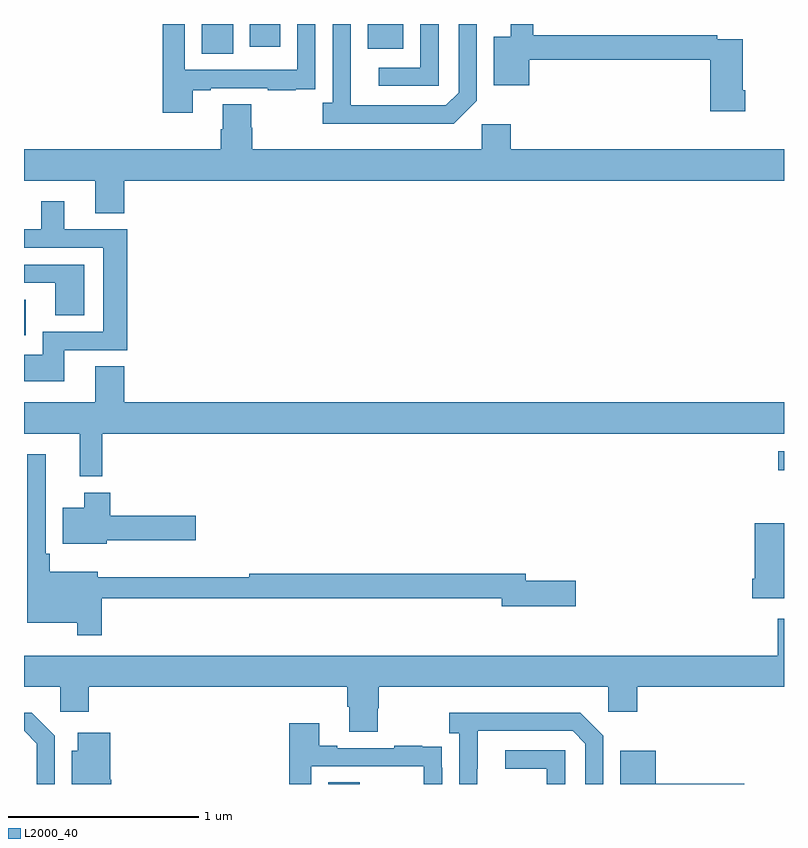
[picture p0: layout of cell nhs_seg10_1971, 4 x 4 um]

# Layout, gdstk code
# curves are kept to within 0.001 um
import gdstk
lib = gdstk.Library(unit=1e-6, precision=1e-09)
def R(c, l, rs):  # rectangles x0, y0, x1, y1
    for r in rs: c.add(gdstk.rectangle(r[:2], r[2:], *l))
def P(c, l, *ps):  # polygons
    for p in ps: c.add(gdstk.Polygon(p, *l))
L2000_40 = (2000, 40)

nhs_seg10_1971 = lib.new_cell('nhs_seg10_1971')
R(nhs_seg10_1971, L2000_40, [(216.602,1270.5,216.766,1270.508), (218.97,1272.151,219,1272.252), (215,1272.863,215.008,1273.048), (215.936,1274.344,216.1,1274.5), (216.809,1274.369,216.997,1274.5), (216.188,1274.379,216.349,1274.5)])
P(nhs_seg10_1971, L2000_40, [(217.383,1274.097),(217.383,1274.5),(217.287,1274.5),(217.287,1274.139),(217.221,1274.073),(216.721,1274.073),(216.72,1274.5),(216.624,1274.5),(216.624,1274.086),(216.573,1274.086),(216.573,1273.976),(217.262,1273.976)],
  [(215.887,1274.151),(215.983,1274.151),(215.983,1274.163),(216.283,1274.163),(216.283,1274.151),(216.431,1274.151),(216.431,1274.157),(216.533,1274.157),(216.533,1274.266),(216.534,1274.266),(216.534,1274.5),(216.438,1274.5),(216.438,1274.259),(215.847,1274.259),(215.847,1274.5),(215.731,1274.5),(215.731,1274.034),(215.887,1274.034)],
  [(218.795,1274.152),(218.782,1274.152),(218.782,1274.421),(218.648,1274.421),(218.648,1274.441),(217.679,1274.441),(217.679,1274.5),(217.562,1274.5),(217.562,1274.434),(217.472,1274.434),(217.472,1274.177),(217.66,1274.177),(217.66,1274.313),(218.612,1274.313),(218.612,1274.04),(218.795,1274.04)],
  [(217.182,1274.5),(217.086,1274.5),(217.086,1274.271),(216.867,1274.271),(216.867,1274.175),(217.182,1274.175)],
  [(215.528,1273.676),(219,1273.676),(219,1273.84),(217.562,1273.84),(217.562,1273.972),(217.41,1273.972),(217.41,1273.84),(216.2,1273.84),(216.2,1273.953),(216.195,1273.953),(216.195,1274.078),(216.047,1274.078),(216.047,1273.946),(216.035,1273.946),(216.035,1273.84),(215,1273.84),(215,1273.676),(215.375,1273.676),(215.375,1273.504),(215.528,1273.504)],
  [(215.212,1272.783),(215.543,1272.783),(215.543,1273.419),(215.212,1273.419),(215.212,1273.567),(215.09,1273.567),(215.09,1273.419),(215,1273.419),(215,1273.323),(215.417,1273.323),(215.417,1272.879),(215.099,1272.879),(215.099,1272.759),(215,1272.759),(215,1272.62),(215.212,1272.62)],
  [(215.317,1273.233),(215,1273.233),(215,1273.137),(215.165,1273.137),(215.165,1272.966),(215.317,1272.966)],
  [(215.411,1272.344),(219,1272.344),(219,1272.508),(215.528,1272.508),(215.528,1272.698),(215.375,1272.698),(215.375,1272.508),(215,1272.508),(215,1272.344),(215.294,1272.344),(215.294,1272.119),(215.411,1272.119)],
  [(215.408,1271.478),(217.514,1271.478),(217.514,1271.435),(217.903,1271.435),(217.903,1271.57),(217.642,1271.57),(217.642,1271.606),(216.185,1271.606),(216.185,1271.588),(215.389,1271.588),(215.389,1271.617),(215.135,1271.617),(215.135,1271.713),(215.115,1271.713),(215.115,1272.235),(215.018,1272.235),(215.018,1271.348),(215.28,1271.348),(215.28,1271.283),(215.408,1271.283)],
  [(215.436,1271.783),(215.905,1271.783),(215.905,1271.913),(215.453,1271.913),(215.453,1272.034),(215.318,1272.034),(215.318,1271.953),(215.204,1271.953),(215.204,1271.765),(215.436,1271.765)],
  [(219,1271.872),(218.846,1271.872),(218.846,1271.581),(218.834,1271.581),(218.834,1271.477),(219,1271.477)],
  [(216.861,1270.899),(216.866,1270.899),(216.866,1271.012),(218.076,1271.012),(218.076,1270.881),(218.228,1270.881),(218.228,1271.012),(219,1271.012),(219,1271.371),(218.966,1271.371),(218.966,1271.176),(215,1271.176),(215,1271.012),(215.19,1271.012),(215.19,1270.881),(215.342,1270.881),(215.342,1271.012),(216.701,1271.012),(216.701,1270.906),(216.713,1270.906),(216.713,1270.774),(216.861,1270.774)],
  [(215.163,1270.755),(215.042,1270.876),(215,1270.876),(215,1270.779),(215.001,1270.779),(215.067,1270.713),(215.067,1270.5),(215.163,1270.5)],
  [(217.386,1270.579),(217.387,1270.779),(217.887,1270.779),(217.953,1270.713),(217.953,1270.5),(218.049,1270.5),(218.049,1270.755),(217.928,1270.876),(217.239,1270.876),(217.239,1270.766),(217.29,1270.766),(217.29,1270.5),(217.386,1270.5)],
  [(216.513,1270.593),(217.104,1270.593),(217.104,1270.5),(217.2,1270.5),(217.2,1270.586),(217.199,1270.586),(217.199,1270.695),(217.097,1270.695),(217.097,1270.702),(216.949,1270.702),(216.949,1270.689),(216.649,1270.689),(216.649,1270.702),(216.553,1270.702),(216.553,1270.819),(216.397,1270.819),(216.397,1270.5),(216.513,1270.5)],
  [(215.459,1270.522),(215.453,1270.522),(215.453,1270.771),(215.282,1270.771),(215.282,1270.675),(215.252,1270.675),(215.252,1270.5),(215.459,1270.5)],
  [(217.848,1270.677),(217.533,1270.677),(217.533,1270.581),(217.752,1270.581),(217.752,1270.5),(217.848,1270.5)],
  [(218.791,1270.502),(218.326,1270.502),(218.326,1270.675),(218.138,1270.675),(218.138,1270.5),(218.791,1270.5)])

lib.write_gds('nhs_seg10_1971.gds')
